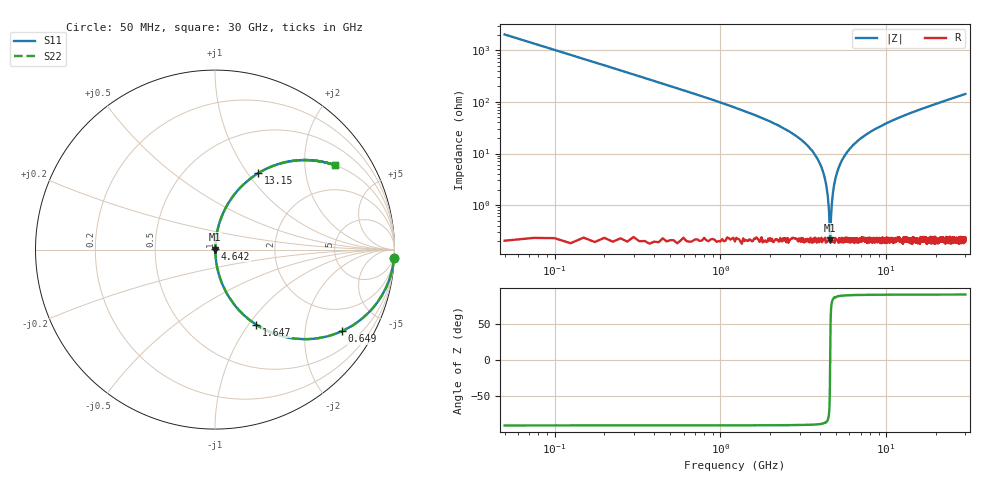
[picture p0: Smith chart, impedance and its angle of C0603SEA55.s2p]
!	AVX Thin Film Operation 	Date: April 2014
!	Description: Accu-P® Series, Thin Film  SMD RF Capacitor
!	Part Number: 06031JA55PBSTR
# MHZ S MA R 50
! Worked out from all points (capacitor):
!   1201 points, 50 MHz to 30 GHz, reference 50 ohm
!   read as one part in series: C = 1.55 pF near 199.8 MHz
!   lowest |Z| = 207 mohm at 4.592 GHz (marker M1)
!   series resonance near 4.589 GHz, so ESL is about 780 pH
!   S11 on the Smith chart (normalised r, x): 50 MHz: 1, -41; 649 MHz: 1.00, -3.10; 1.647 GHz: 1.00, -1.09; 4.642 GHz: 1.00, +0.01; 13.15 GHz: 1.00, +1.13; 30 GHz: 1.00, +2.86
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50  0.999 -2.8  0.049 87.2  0.049 87.2  0.999 -2.8
324.542  0.953 -17.6  0.303 72.3  0.303 72.3  0.953 -17.6
649  0.84 -32.8  0.542 57.1  0.542 57.1  0.84 -32.8
1048.333  0.68 -47.1  0.732 42.8  0.732 42.8  0.68 -47.1
1647.333  0.476 -61.3  0.877 28.5  0.877 28.5  0.476 -61.3
3069.958  0.181 -78.9  0.981 10.4  0.981 10.4  0.181 -78.9
3818.708  0.082 -83.8  0.995 4.7  0.995 4.7  0.082 -83.8
4243  0.035 -84.6  0.997 2.0  0.997 2.0  0.035 -84.6
4367.792  0.022 -83.3  0.998 1.3  0.998 1.3  0.022 -83.3
4492.583  0.009715 -77.1  0.998 0.5  0.998 0.5  0.009715 -77.1
4592.417  0.002112 8.9  0.998 -0.0  0.998 -0.0  0.002112 8.9
4642.333  0.005561 67.7  0.998 -0.3  0.998 -0.3  0.005561 67.7
4842  0.024 83.7  0.998 -1.4  0.998 -1.4  0.024 83.7
5041.667  0.042 84.8  0.997 -2.4  0.997 -2.4  0.042 84.8
5615.708  0.09 83.5  0.994 -5.2  0.994 -5.2  0.09 83.5
6539.167  0.159 80.1  0.985 -9.2  0.985 -9.2  0.159 80.1
10058.29  0.361 68.5  0.93 -21.2  0.93 -21.2  0.361 68.5
13153.12  0.49 60.4  0.87 -29.3  0.87 -29.3  0.49 60.4
15025  0.553 56.3  0.832 -33.5  0.832 -33.5  0.553 56.3
20016.67  0.678 47.2  0.733 -42.7  0.733 -42.7  0.678 47.2
25033.29  0.762 40.2  0.646 -49.6  0.646 -49.6  0.762 40.2
30000  0.819 35.0  0.573 -55.0  0.573 -55.0  0.819 35.0
